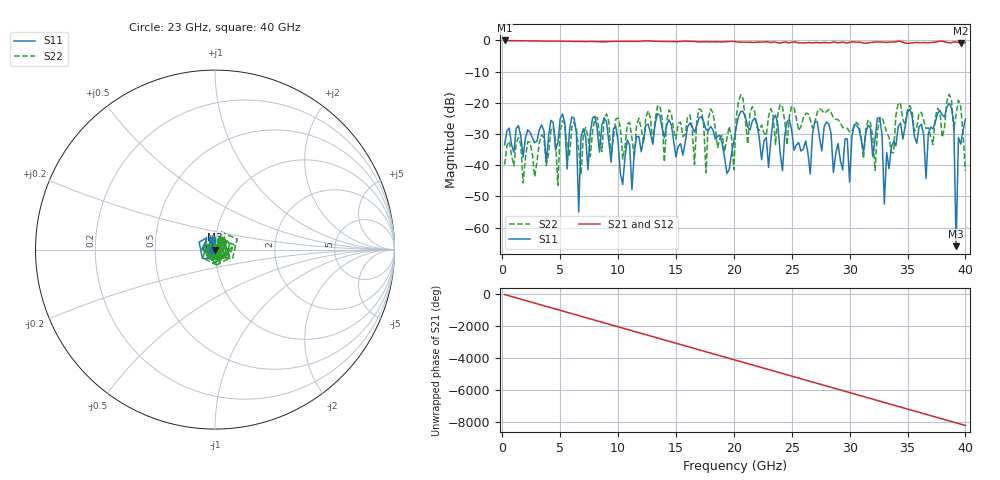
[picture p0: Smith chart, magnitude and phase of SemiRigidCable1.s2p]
# MHz MA S R 50.0
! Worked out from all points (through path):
!   200 points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, 200 MHz to 40 GHz, reference 50 ohm
!   highest |S21| = -0.05 dB at 200 MHz (marker M1); lowest = -1.0 dB at 39.6 GHz (marker M2)
!   lowest |S11| = -66.0 dB at 39.2 GHz (marker M3), VSWR 1.00, Z = 50 + j0.0438 ohm
!   |S11| at or under -10 dB: start of sweep to end of sweep
!   |S22| runs from -46.4 to -17.3 dB; largest |S21 - S12| = 0.027
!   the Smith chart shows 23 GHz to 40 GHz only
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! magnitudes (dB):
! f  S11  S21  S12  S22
! 200 MHz  -33.4  -0.1  -0.1  -39.8
! 4.4 GHz  -26.4  -0.3  -0.3  -27.8
! 4.8 GHz  -32.7  -0.3  -0.3  -46.4
! 6.2 GHz  -24.9  -0.4  -0.4  -26.2
! 6.6 GHz  -55.0  -0.4  -0.4  -35.0
! 7 GHz  -28.4  -0.4  -0.4  -30.4
! 11.2 GHz  -47.9  -0.3  -0.3  -31.5
! 13.6 GHz  -24.1  -0.4  -0.4  -20.9
! 14 GHz  -31.2  -0.3  -0.4  -39.0
! 17.2 GHz  -24.6  -0.5  -0.5  -22.4
! 17.6 GHz  -28.6  -0.4  -0.4  -42.5
! 18 GHz  -27.6  -0.5  -0.5  -22.0
! 20 GHz  -32.3  -0.3  -0.4  -41.4
! 20.2 GHz  -27.9  -0.5  -0.5  -25.1
! 26.8 GHz  -29.8  -0.8  -0.8  -28.2
! 33.4 GHz  -41.1  -0.6  -0.7  -31.0
! 38.6 GHz  -20.2  -0.8  -0.8  -17.3
! 39 GHz  -26.8  -0.6  -0.6  -28.6
! 39.2 GHz  -66.0  -0.5  -0.6  -23.7
! 39.4 GHz  -31.1  -0.7  -0.9  -19.2
! 39.6 GHz  -33.3  -1.0  -1.1  -21.2
! 40 GHz  -25.3  -0.8  -0.6  -41.9
